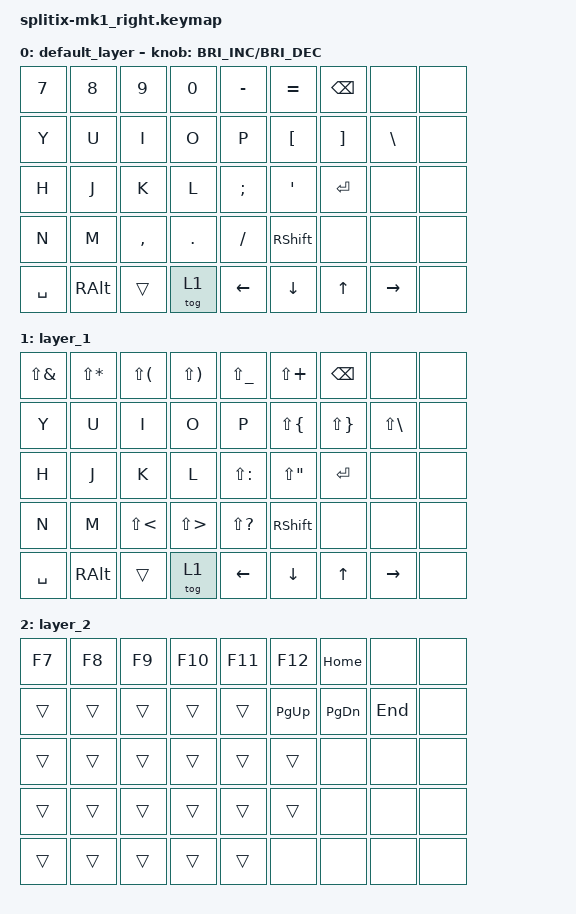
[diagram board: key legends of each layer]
#include <behaviors.dtsi>
#include <dt-bindings/zmk/keys.h>

/ {
    keymap {
        compatible = "zmk,keymap";

        default_layer {
            bindings = <
                &kp N7   &kp N8   &kp N9   &kp N0   &kp MINUS &kp EQUAL &kp BSPC &none    &none
                &kp Y    &kp U    &kp I    &kp O    &kp P    &kp LBKT  &kp RBKT &kp BSLH &none
                &kp H    &kp J    &kp K    &kp L    &kp SEMI &kp SQT   &kp RET  &none    &none
                &kp N    &kp M    &kp COMMA &kp DOT  &kp FSLH &kp RSHFT &none    &none    &none
                &kp SPACE &kp RALT &trans  &tog 1  &kp LEFT  &kp DOWN  &kp UP   &kp RIGHT &none
            >;

            sensor-bindings = <&inc_dec_kp C_BRIGHTNESS_INC C_BRIGHTNESS_DEC>;
        };

        layer_1 {
            bindings = <
                &kp LS(AMPS) &kp LS(STAR) &kp LS(LPAR) &kp LS(RPAR) &kp LS(UNDER) &kp LS(PLUS) &kp BSPC &none    &none
                &kp Y    &kp U    &kp I    &kp O    &kp P    &kp LS(LBRC) &kp LS(RBRC) &kp LS(BSLH) &none
                &kp H    &kp J    &kp K    &kp L    &kp LS(COLON) &kp LS(DQT) &kp RET  &none    &none
                &kp N    &kp M    &kp LS(LT) &kp LS(GT) &kp LS(QMARK) &kp RSHFT &none    &none    &none
                &kp SPACE &kp RALT &trans  &tog 1  &kp LEFT  &kp DOWN  &kp UP   &kp RIGHT &none
            >;
        };

        layer_2 {
            bindings = <
                &kp F7   &kp F8   &kp F9   &kp F10  &kp F11  &kp F12  &kp HOME &none    &none
                &trans   &trans   &trans   &trans   &trans   &kp PG_UP &kp PG_DN &kp END  &none
                &trans   &trans   &trans   &trans   &trans   &trans   &none    &none    &none
                &trans   &trans   &trans   &trans   &trans   &trans   &none    &none    &none
                &trans   &trans   &trans   &trans   &trans   &none    &none    &none    &none
            >;
        };
    };
};
